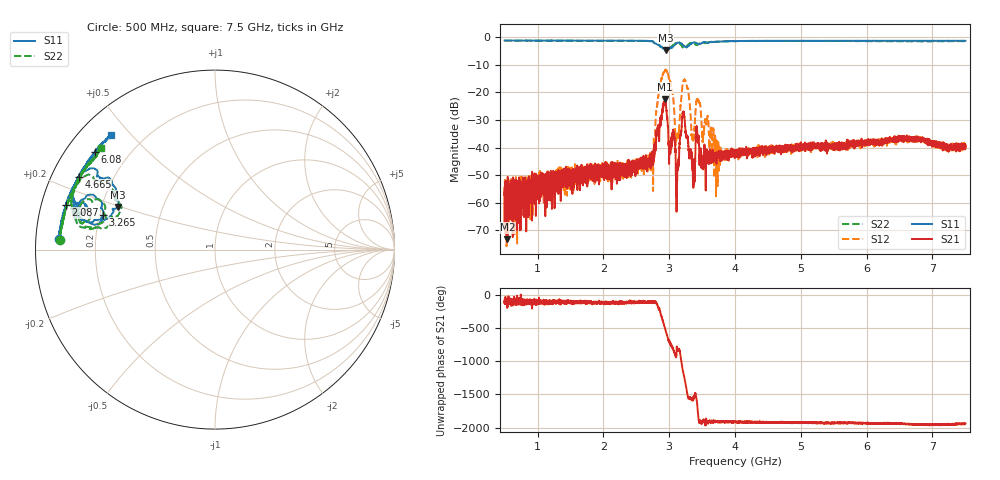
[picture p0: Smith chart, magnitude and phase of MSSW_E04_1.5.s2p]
!Keysight Technologies,M9374A,MY55442783,A.12.55.05
!Date: Wednesday, May 19, 2021 18:16:04
!Correction: S11(Full 2 Port(1,2))
!S21(Full 2 Port(1,2))
!S12(Full 2 Port(1,2))
!S22(Full 2 Port(1,2))
!S2P File: Measurements: S11, S21, S12, S22:
# Hz S  RI  R 50
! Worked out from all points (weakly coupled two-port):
!   7001 points, 500 MHz to 7.5 GHz, reference 50 ohm
!   highest |S21| = -22.44 dB at 2.94 GHz (marker M1); lowest = -73.3 dB at 543 MHz (marker M2)
!   lowest |S11| = -4.6 dB at 2.95 GHz (marker M3), VSWR 3.88, Z = 13.4 + j9.78 ohm
!   |S11| at or under -10 dB: nowhere
!   |S22| runs from -4.9 to -1.2 dB; largest |S21 - S12| = 0.21
!   S11 on the Smith chart (normalised r, x): 500 MHz: 0.07, +0.03; 2.087 GHz: 0.07, +0.15; 3.265 GHz: 0.21, +0.14; 4.665 GHz: 0.08, +0.25; 6.08 GHz: 0.08, +0.35; 7.5 GHz: 0.09, +0.44
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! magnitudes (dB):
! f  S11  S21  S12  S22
! 500 MHz  -1.2  -54.5  -57.3  -1.2
! 543 MHz  -1.2  -73.3  -54.7  -1.2
! 1.667 GHz  -1.2  -46.3  -48.0  -1.3
! 2.087 GHz  -1.2  -49.0  -46.5  -1.3
! 2.727 GHz  -1.4  -43.8  -45.2  -1.5
! 2.834 GHz  -2.7  -32.8  -21.5  -2.7
! 2.94 GHz  -4.4  -22.4  -11.8  -4.8
! 2.95 GHz  -4.6  -24.0  -11.8  -4.9
! 3.035 GHz  -3.7  -39.1  -18.4  -3.4
! 3.12 GHz  -2.1  -49.3  -35.1  -2.0
! 3.203 GHz  -2.8  -27.6  -17.4  -3.7
! 3.265 GHz  -3.7  -36.1  -17.3  -3.3
! 3.358 GHz  -2.0  -47.2  -36.3  -2.0
! 3.442 GHz  -2.5  -36.2  -22.8  -2.6
! 3.493 GHz  -2.2  -46.8  -31.8  -1.8
! 3.741 GHz  -1.6  -43.1  -41.7  -1.6
! 4 GHz  -1.4  -42.9  -41.1  -1.4
! 4.665 GHz  -1.3  -40.4  -40.2  -1.4
! 5.167 GHz  -1.3  -38.6  -38.9  -1.4
! 6.08 GHz  -1.3  -38.5  -38.2  -1.4
! 6.334 GHz  -1.3  -36.9  -38.2  -1.4
! 7.5 GHz  -1.3  -39.7  -38.7  -1.4
